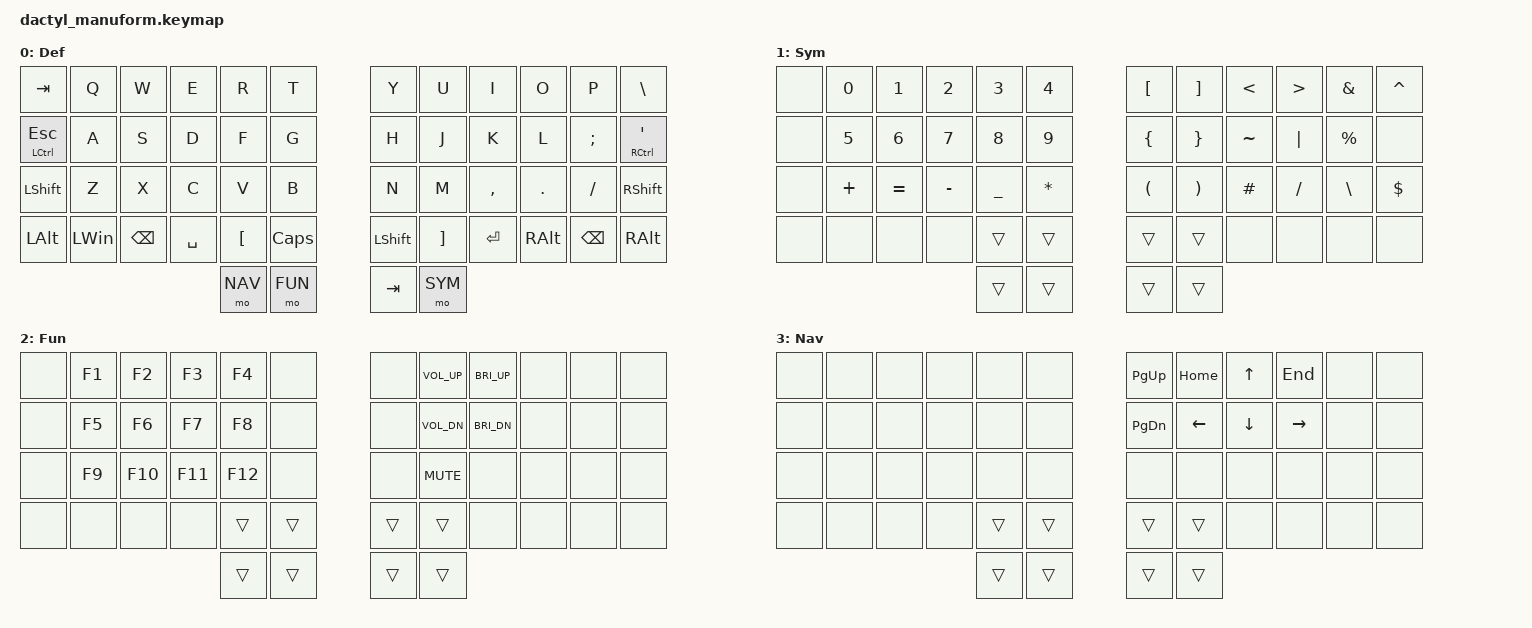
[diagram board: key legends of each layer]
/*
 * Copyright (c) 2020 The ZMK Contributors
 *
 * SPDX-License-Identifier: MIT
 */

#include <behaviors.dtsi>
#include <dt-bindings/zmk/keys.h>
#include <dt-bindings/zmk/bt.h>

#define SYM 1
#define FUN 2
#define NAV 3

/ {
	keymap {
		compatible = "zmk,keymap";

		default_layer {
			// ----------------------------------------------------------------------------------------------------------------------------------
			// |  TAB  |  Q  |  W   |  E   |  R   |  T   |                                        |  Y   |  U    |  I    |  O    |   P   |   \  |
			// |  ESC  |  A  |  S   |  D   |  F   |  G   |                                        |  H   |  J    |  K    |  L    |   ;   |   '  |
			// | SHIFT |  Z  |  X   |  C   |  V   |  B   |                                        |  N   |  M    |  ,    |  .    |   /   | CTRL |
			//               | LCTL | LWIN |BKSP  | SPC  | LBKT  |  CAPS   |  | L SHIFT | L SHIFT | TAB  | BSPC  | R-ALT | R-ALT |
			//                                           | MO 3  |  MO 2   |  |   RET   |  SPACE  |
			label = "Def";
			bindings = <
				&kp TAB       &kp Q  &kp W      &kp E     &kp R     &kp T                                                      &kp Y    &kp U     &kp I      &kp O     &kp P     &kp BSLH
				&mt LCTRL ESC &kp A  &kp S      &kp D     &kp F     &kp G                                                      &kp H    &kp J     &kp K      &kp L     &kp SEMI  &mt RCTL SQT
				&kp LSHFT     &kp Z  &kp X      &kp C     &kp V     &kp B                                                      &kp N    &kp M     &kp COMMA  &kp DOT   &kp FSLH  &kp RSHIFT
							         &kp LALT   &kp LWIN  &kp BSPC  &kp SPACE  &kp LBKT  &kp CAPS         &kp LSHFT  &kp RBKT  &kp RET  &kp RALT  &kp BSPC   &kp RALT
														     			 	   &mo NAV   &mo FUN          &kp TAB    &mo SYM   
			>;
		};

		sym_layer {
			// ----------------------------------------------------------------------------------------------------------------------------------
			// | - | 0 | 1 | 2 | 3 | 4 |                  | [ | ] | < | > | & | ^ |
		    // | - | 5 | 6 | 7 | 8 | 9 |                  | { | } | ~ | | | % | - |
			// | - | + | = | - | _ | * |                  | ( | ) | # | \ | / | $ |
			//         | - | - | - | - | - | - |  | - | - | - | - | - | - |
			//                         | - | - |  | - | - |
			label = "Sym";
			bindings = <
				&none   &kp N0     &kp N1      &kp N2      &kp N3      &kp N4                                            &kp LBKT   &kp RBKT   &kp LT      &kp GT     &kp AMPS    &kp CARET 
				&none   &kp N5     &kp N6      &kp N7      &kp N8      &kp N9                                            &kp LBRC   &kp RBRC   &kp TILDE   &kp PIPE   &kp PRCNT   &none 
				&none   &kp PLUS   &kp EQUAL   &kp MINUS   &kp UNDER   &kp STAR                                          &kp LPAR   &kp RPAR   &kp HASH    &kp FSLH   &kp BSLH    &kp DLLR 
						           &none       &none       &none       &none      &trans   &trans       &trans   &trans  &none      &none      &none       &none 
															                      &trans   &trans       &trans   &trans 
			>;
		};

		fun_layer {
			// ----------------------------------------------------------------------------------------------------------------------------------
			// | - | F1 | F2  | F3  | F4  | - |                  | - | VOL_UP | BR_UP | - | - | - |
			// | - | F5 | F6  | F7  | F8  | - |                  | - | VOL_DN | BR_DN | - | - | - |
			// | - | F9 | F10 | F11 | F12 | - |                  | - | MUTE   | -     | - | - | - |
			//          |  -  |  -  |  -  | - | - | - |  | - | - | - | -      | -     | - |
			//                            | - | - |  | - | - |
			label = "Fun";
			bindings = <
				&none   &kp F1  &kp F2  &kp F3  &kp F4  &none                                          &none  &kp K_VOL_UP  &kp C_BRI_UP  &none   &none   &none 
				&none   &kp F5  &kp F6  &kp F7  &kp F8  &none                                          &none  &kp K_VOL_DN  &kp C_BRI_DN  &none   &none   &none 
				&none   &kp F9  &kp F10 &kp F11 &kp F12 &none                                          &none  &kp K_MUTE    &none         &none   &none   &none 
				                &none   &none   &none   &none   &trans   &trans       &trans   &trans  &none  &none        &none          &none 
				                                                &trans   &trans       &trans   &trans
			>;
		};
		nav_layer {
			// ----------------------------------------------------------------------------------------------------------------------------------
			// | - | - | - | - | - | - |                  | PGUP | HOME | UP | END   | - | - |
			// | - | - | - | - | - | - |                  | PGDN | LEFT | DN | RIGHT | - | - |
			// | - | - | - | - | - | - |                  | -    | -    | -  | -     | - | - |
			//         | - | - | - | - | - | - |  | - | - | -    | -    | -  | -     |
			//                         | - | - |  | - | - |
			label = "Nav";
			bindings = <
				&none   &none   &none   &none   &none   &none                                          &kp PG_UP &kp HOME &kp UP   &kp END   &none  &none 
				&none   &none   &none   &none   &none   &none                                          &kp PG_DN &kp LEFT &kp DOWN &kp RIGHT &none  &none 
				&none   &none   &none   &none   &none   &none                                          &none     &none    &none    &none     &none  &none 
				                &none   &none   &none   &none   &trans   &trans       &trans   &trans  &none     &none    &none    &none 
				                                                &trans   &trans       &trans   &trans
			>;
		};

	};
};
